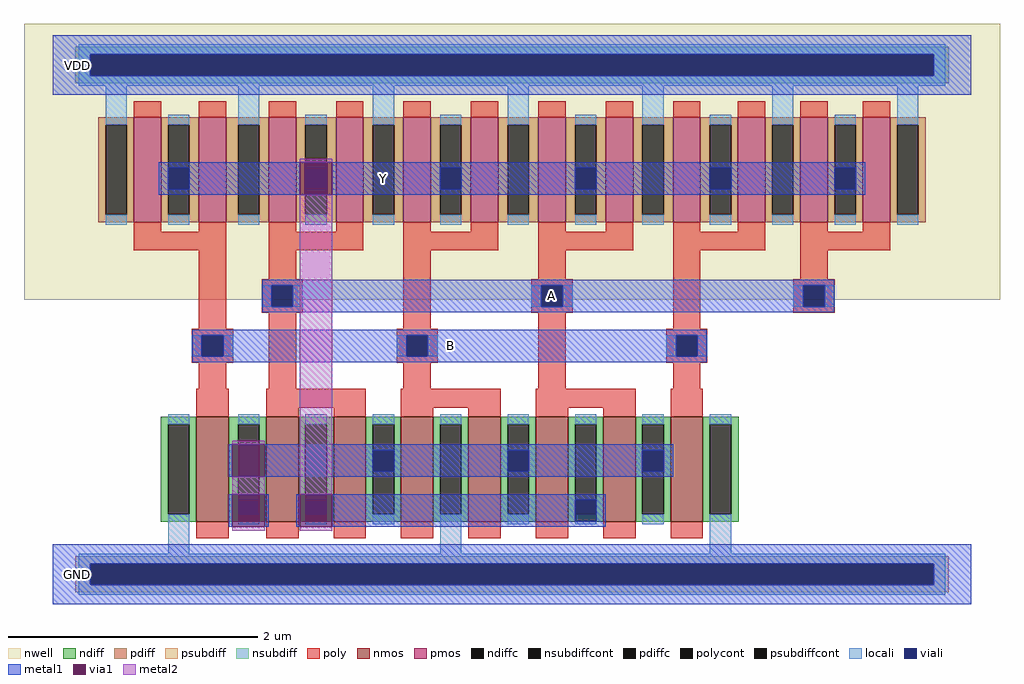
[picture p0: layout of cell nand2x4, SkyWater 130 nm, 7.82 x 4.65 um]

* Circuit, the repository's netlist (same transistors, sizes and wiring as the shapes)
** sch_path: /foss/designs/nand2x4.sch
.subckt nand2x4 A B VDD GND Y
*.PININFO A:I B:I VDD:B GND:B Y:O
XM2 Y A net1 GND sky130_fd_pr__nfet_01v8 L=0.26 W=3.36 nf=4
XM3 Y A VDD VDD sky130_fd_pr__pfet_01v8 L=0.22 W=5.04 nf=6
XM4 Y B VDD VDD sky130_fd_pr__pfet_01v8 L=0.22 W=5.04 nf=6
XM1 net1 B GND GND sky130_fd_pr__nfet_01v8 L=0.26 W=3.36 nf=4
.ends

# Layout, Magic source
magic
tech sky130A
magscale 1 2
<< nwell >>
rect -46 440 1518 882
<< nmos >>
rect 230 84 282 252
rect 342 84 394 252
rect 450 84 502 252
rect 558 84 610 252
rect 666 84 718 252
rect 774 84 826 252
rect 882 84 934 252
rect 990 84 1042 252
<< pmos >>
rect 130 564 174 732
rect 234 564 278 732
rect 346 564 390 732
rect 454 564 498 732
rect 562 564 606 732
rect 670 564 714 732
rect 778 564 822 732
rect 886 564 930 732
rect 994 564 1038 732
rect 1098 564 1142 732
rect 1198 564 1242 732
rect 1298 564 1342 732
<< ndiff >>
rect 173 240 230 252
rect 173 96 185 240
rect 219 96 230 240
rect 173 84 230 96
rect 282 240 342 252
rect 282 96 297 240
rect 331 96 342 240
rect 282 84 342 96
rect 394 240 450 252
rect 394 96 405 240
rect 439 96 450 240
rect 394 84 450 96
rect 502 240 558 252
rect 502 96 513 240
rect 547 96 558 240
rect 502 84 558 96
rect 610 240 666 252
rect 610 96 621 240
rect 655 96 666 240
rect 610 84 666 96
rect 718 240 774 252
rect 718 96 729 240
rect 763 96 774 240
rect 718 84 774 96
rect 826 240 882 252
rect 826 96 837 240
rect 871 96 882 240
rect 826 84 882 96
rect 934 240 990 252
rect 934 96 945 240
rect 979 96 990 240
rect 934 84 990 96
rect 1042 240 1099 252
rect 1042 96 1053 240
rect 1087 96 1099 240
rect 1042 84 1099 96
<< pdiff >>
rect 73 720 130 732
rect 73 576 85 720
rect 119 576 130 720
rect 73 564 130 576
rect 174 720 234 732
rect 174 576 185 720
rect 219 576 234 720
rect 174 564 234 576
rect 278 720 346 732
rect 278 576 297 720
rect 331 576 346 720
rect 278 564 346 576
rect 390 720 454 732
rect 390 576 405 720
rect 439 576 454 720
rect 390 564 454 576
rect 498 720 562 732
rect 498 576 513 720
rect 547 576 562 720
rect 498 564 562 576
rect 606 720 670 732
rect 606 576 621 720
rect 655 576 670 720
rect 606 564 670 576
rect 714 720 778 732
rect 714 576 729 720
rect 763 576 778 720
rect 714 564 778 576
rect 822 720 886 732
rect 822 576 837 720
rect 871 576 886 720
rect 822 564 886 576
rect 930 720 994 732
rect 930 576 945 720
rect 979 576 994 720
rect 930 564 994 576
rect 1038 720 1098 732
rect 1038 576 1053 720
rect 1087 576 1098 720
rect 1038 564 1098 576
rect 1142 720 1198 732
rect 1142 576 1153 720
rect 1187 576 1198 720
rect 1142 564 1198 576
rect 1242 720 1298 732
rect 1242 576 1253 720
rect 1287 576 1298 720
rect 1242 564 1298 576
rect 1342 720 1399 732
rect 1342 576 1353 720
rect 1387 576 1399 720
rect 1342 564 1399 576
<< ndiffc >>
rect 185 96 219 240
rect 297 96 331 240
rect 405 96 439 240
rect 513 96 547 240
rect 621 96 655 240
rect 729 96 763 240
rect 837 96 871 240
rect 945 96 979 240
rect 1053 96 1087 240
<< pdiffc >>
rect 85 576 119 720
rect 185 576 219 720
rect 297 576 331 720
rect 405 576 439 720
rect 513 576 547 720
rect 621 576 655 720
rect 729 576 763 720
rect 837 576 871 720
rect 945 576 979 720
rect 1053 576 1087 720
rect 1153 576 1187 720
rect 1253 576 1287 720
rect 1353 576 1387 720
<< psubdiff >>
rect 36 17 1436 29
rect 36 -17 60 17
rect 1412 -17 1436 17
rect 36 -29 1436 -17
<< nsubdiff >>
rect 36 833 1436 845
rect 36 799 60 833
rect 1412 799 1436 833
rect 36 787 1436 799
<< psubdiffcont >>
rect 60 -17 1412 17
<< nsubdiffcont >>
rect 60 799 1412 833
<< poly >>
rect 130 732 174 758
rect 234 732 278 758
rect 346 732 390 758
rect 454 732 498 758
rect 562 732 606 758
rect 670 732 714 758
rect 778 732 822 758
rect 886 732 930 758
rect 994 732 1038 758
rect 1098 732 1142 758
rect 1198 732 1242 758
rect 1298 732 1342 758
rect 130 549 174 564
rect 234 549 278 564
rect 130 519 278 549
rect 234 393 278 519
rect 346 549 390 564
rect 454 549 498 564
rect 346 519 498 549
rect 562 549 606 564
rect 670 549 714 564
rect 562 519 714 549
rect 778 549 822 564
rect 886 549 930 564
rect 778 519 930 549
rect 994 549 1038 564
rect 1098 549 1142 564
rect 994 519 1142 549
rect 1198 549 1242 564
rect 1298 549 1342 564
rect 1198 519 1342 549
rect 346 473 390 519
rect 335 463 401 473
rect 335 429 351 463
rect 385 429 401 463
rect 335 419 401 429
rect 223 383 289 393
rect 223 349 239 383
rect 273 349 289 383
rect 223 339 289 349
rect 234 297 278 339
rect 346 297 390 419
rect 562 393 606 519
rect 778 473 822 519
rect 767 463 833 473
rect 767 429 783 463
rect 817 429 833 463
rect 767 419 833 429
rect 551 383 617 393
rect 551 349 567 383
rect 601 349 617 383
rect 551 339 617 349
rect 562 297 606 339
rect 778 297 822 419
rect 994 393 1038 519
rect 1198 473 1242 519
rect 1187 463 1253 473
rect 1187 429 1203 463
rect 1237 429 1253 463
rect 1187 419 1253 429
rect 983 383 1049 393
rect 983 349 999 383
rect 1033 349 1049 383
rect 983 339 1049 349
rect 994 297 1038 339
rect 230 252 282 297
rect 342 267 502 297
rect 342 252 394 267
rect 450 252 502 267
rect 558 267 718 297
rect 558 252 610 267
rect 666 252 718 267
rect 774 267 934 297
rect 774 252 826 267
rect 882 252 934 267
rect 990 252 1042 297
rect 230 58 282 84
rect 342 58 394 84
rect 450 58 502 84
rect 558 58 610 84
rect 666 58 718 84
rect 774 58 826 84
rect 882 58 934 84
rect 990 58 1042 84
<< polycont >>
rect 351 429 385 463
rect 239 349 273 383
rect 783 429 817 463
rect 567 349 601 383
rect 1203 429 1237 463
rect 999 349 1033 383
<< locali >>
rect 42 833 1430 849
rect 42 799 60 833
rect 1412 799 1430 833
rect 42 783 1430 799
rect 85 720 119 783
rect 85 560 119 576
rect 185 720 219 736
rect 185 560 219 576
rect 297 720 331 783
rect 297 560 331 576
rect 405 720 439 736
rect 405 560 439 576
rect 513 720 547 783
rect 513 560 547 576
rect 621 720 655 736
rect 621 560 655 576
rect 729 720 763 783
rect 729 560 763 576
rect 837 720 871 736
rect 837 560 871 576
rect 945 720 979 783
rect 945 560 979 576
rect 1053 720 1087 736
rect 1053 560 1087 576
rect 1153 720 1187 783
rect 1153 560 1187 576
rect 1253 720 1287 736
rect 1253 560 1287 576
rect 1353 720 1387 783
rect 1353 560 1387 576
rect 335 429 351 463
rect 385 429 401 463
rect 767 429 783 463
rect 817 429 833 463
rect 1187 429 1203 463
rect 1237 429 1253 463
rect 223 349 239 383
rect 273 349 289 383
rect 551 349 567 383
rect 601 349 617 383
rect 983 349 999 383
rect 1033 349 1049 383
rect 185 240 219 256
rect 185 33 219 96
rect 297 240 331 256
rect 297 80 331 85
rect 405 240 439 256
rect 405 80 439 85
rect 513 240 547 256
rect 513 80 547 96
rect 621 240 655 256
rect 621 33 655 96
rect 729 240 763 256
rect 729 80 763 96
rect 837 240 871 256
rect 837 80 871 85
rect 945 240 979 256
rect 945 80 979 96
rect 1053 240 1087 256
rect 1053 33 1087 96
rect 42 17 1430 33
rect 42 -17 60 17
rect 1412 -17 1430 17
rect 42 -33 1430 -17
<< viali >>
rect 60 799 1412 833
rect 185 617 219 651
rect 405 617 439 651
rect 621 617 655 651
rect 837 617 871 651
rect 1053 617 1087 651
rect 1253 617 1287 651
rect 351 429 385 463
rect 783 429 817 463
rect 1203 429 1237 463
rect 239 349 273 383
rect 567 349 601 383
rect 999 349 1033 383
rect 297 96 331 119
rect 297 85 331 96
rect 405 96 439 119
rect 405 85 439 96
rect 513 165 547 199
rect 729 165 763 199
rect 837 96 871 119
rect 837 85 871 96
rect 945 165 979 199
rect 60 -17 1412 17
<< metal1 >>
rect 0 833 1472 864
rect 0 799 60 833
rect 1412 799 1472 833
rect 0 768 1472 799
rect 170 651 396 660
rect 448 651 1302 660
rect 170 617 185 651
rect 219 617 396 651
rect 448 617 621 651
rect 655 617 837 651
rect 871 617 1053 651
rect 1087 617 1253 651
rect 1287 617 1302 651
rect 170 608 396 617
rect 448 608 1302 617
rect 336 463 1252 472
rect 336 429 351 463
rect 385 429 783 463
rect 817 429 1203 463
rect 1237 429 1252 463
rect 336 420 1252 429
rect 224 383 1048 392
rect 224 349 239 383
rect 273 349 567 383
rect 601 349 999 383
rect 1033 349 1048 383
rect 224 340 1048 349
rect 282 156 288 208
rect 340 199 994 208
rect 340 165 513 199
rect 547 165 729 199
rect 763 165 945 199
rect 979 165 994 199
rect 340 156 994 165
rect 282 76 288 128
rect 340 76 346 128
rect 390 76 396 128
rect 448 119 886 128
rect 448 85 837 119
rect 871 85 886 119
rect 448 76 886 85
rect 0 17 1472 48
rect 0 -17 60 17
rect 1412 -17 1472 17
rect 0 -48 1472 -17
<< via1 >>
rect 396 651 448 660
rect 396 617 405 651
rect 405 617 439 651
rect 439 617 448 651
rect 396 608 448 617
rect 288 156 340 208
rect 288 119 340 128
rect 288 85 297 119
rect 297 85 331 119
rect 331 85 340 119
rect 288 76 340 85
rect 396 119 448 128
rect 396 85 405 119
rect 405 85 439 119
rect 439 85 448 119
rect 396 76 448 85
<< metal2 >>
rect 396 660 448 666
rect 288 208 340 214
rect 288 128 340 156
rect 288 70 340 76
rect 396 128 448 608
rect 396 70 448 76
<< labels >>
rlabel metal1 777 423 823 469 0 A
port 1 nsew
rlabel metal1 615 343 661 389 0 B
port 2 nsew
rlabel metal1 10 780 70 852 0 VDD
port 3 nsew
rlabel metal1 10 -36 70 36 0 GND
port 4 nsew
rlabel metal1 507 611 553 657 0 Y
port 5 nsew
<< properties >>
string FIXED_BBOX 0 0 1472 816
<< end >>
